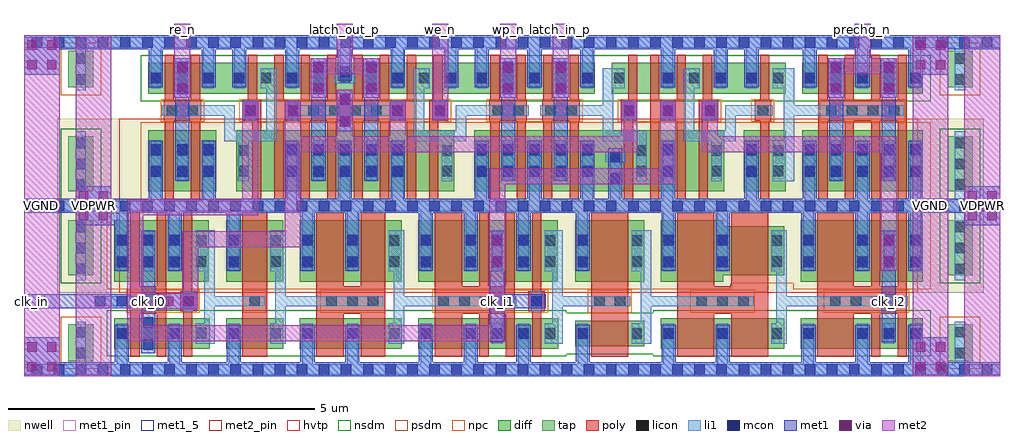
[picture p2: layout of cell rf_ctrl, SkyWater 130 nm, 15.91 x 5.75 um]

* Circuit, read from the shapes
.subckt rf_ctrl VDPWR VGND clk_i0 clk_i1 clk_i2 clk_in latch_in_p latch_out_p prechg_n re_n we_n wp_n
XM1 clk_i0 clk_in VGND VGND sky130_fd_pr__nfet_01v8 w=0.5 l=0.15 m=2
XM2 re_n n1 VGND VGND sky130_fd_pr__nfet_01v8 w=0.5 l=0.15 m=2
XM3 n2 clk_i0 VGND VGND sky130_fd_pr__nfet_01v8 w=0.5 l=0.15
XM4 n3 n2 VGND VGND sky130_fd_pr__nfet_01v8 w=0.5 l=0.4
XM5 n1 clk_i1 VGND VGND sky130_fd_pr__nfet_01v8 w=0.5 l=0.15
XM6 VGND clk_i0 n1 VGND sky130_fd_pr__nfet_01v8 w=0.5 l=0.15
XM7 latch_out_p clk_i0 VGND VGND sky130_fd_pr__nfet_01v8 w=0.5 l=0.15 m=4
XM8 VGND n3 VGND VGND sky130_fd_pr__nfet_01v8 w=0.5 l=0.45
XM9 n4 n3 VGND VGND sky130_fd_pr__nfet_01v8 w=0.5 l=0.4
XM10 n5 clk_i0 VGND VGND sky130_fd_pr__nfet_01v8 w=0.5 l=0.15
XM11 VGND we_n n5 VGND sky130_fd_pr__nfet_01v8 w=0.5 l=0.15
XM12 VGND n4 VGND VGND sky130_fd_pr__nfet_01v8 w=0.5 l=0.45
XM13 clk_i1 n4 VGND VGND sky130_fd_pr__nfet_01v8 w=0.5 l=0.15 m=2
XM14 wp_n n5 VGND VGND sky130_fd_pr__nfet_01v8 w=0.5 l=0.15 m=2
XM15 n6 clk_i1 VGND VGND sky130_fd_pr__nfet_01v8 w=0.5 l=0.15
XM16 latch_in_p n7 VGND VGND sky130_fd_pr__nfet_01v8 w=0.5 l=0.15 m=2
XM17 n8 n6 VGND VGND sky130_fd_pr__nfet_01v8 w=0.42 l=0.6
XM18 n9 clk_i0 n7 VGND sky130_fd_pr__nfet_01v8 w=0.5 l=0.15
XM19 VGND clk_i1 n9 VGND sky130_fd_pr__nfet_01v8 w=0.5 l=0.15
XM20 n10 clk_i1 VGND VGND sky130_fd_pr__nfet_01v8 w=0.5 l=0.15
XM21 VGND n8 VGND VGND sky130_fd_pr__nfet_01v8 w=0.5 l=0.6
XM22 VGND clk_i2 n10 VGND sky130_fd_pr__nfet_01v8 w=0.5 l=0.15
XM23 n11 n8 VGND VGND sky130_fd_pr__nfet_01v8 w=0.5 l=0.6
XM24 n12 n10 VGND VGND sky130_fd_pr__nfet_01v8 w=0.5 l=0.15
XM25 VGND n11 VGND VGND sky130_fd_pr__nfet_01v8 w=0.5 l=0.6
XM26 prechg_n n12 VGND VGND sky130_fd_pr__nfet_01v8 w=0.5 l=0.15 m=4
XM27 clk_i2 n11 VGND VGND sky130_fd_pr__nfet_01v8 w=0.5 l=0.15 m=2
XM28 clk_i0 clk_in VDPWR VDPWR sky130_fd_pr__pfet_01v8_hvt w=1 l=0.15 m=2
XM29 re_n n1 VDPWR VDPWR sky130_fd_pr__pfet_01v8_hvt w=1 l=0.15 m=2
XM30 n2 clk_i0 VDPWR VDPWR sky130_fd_pr__pfet_01v8_hvt w=1 l=0.15
XM31 n3 n2 VDPWR VDPWR sky130_fd_pr__pfet_01v8_hvt w=1 l=0.4
XM32 n13 clk_i1 n1 VDPWR sky130_fd_pr__pfet_01v8_hvt w=1 l=0.15
XM33 VDPWR clk_i0 n13 VDPWR sky130_fd_pr__pfet_01v8_hvt w=1 l=0.15
XM34 latch_out_p clk_i0 VDPWR VDPWR sky130_fd_pr__pfet_01v8_hvt w=1 l=0.15 m=4
XM35 VDPWR n3 VDPWR VDPWR sky130_fd_pr__pfet_01v8_hvt w=1 l=0.45
XM36 n4 n3 VDPWR VDPWR sky130_fd_pr__pfet_01v8_hvt w=1 l=0.4
XM37 n14 clk_i0 VDPWR VDPWR sky130_fd_pr__pfet_01v8_hvt w=1 l=0.15
XM38 n5 we_n n14 VDPWR sky130_fd_pr__pfet_01v8_hvt w=1 l=0.15
XM39 VDPWR n4 VDPWR VDPWR sky130_fd_pr__pfet_01v8_hvt w=1 l=0.45
XM40 clk_i1 n4 VDPWR VDPWR sky130_fd_pr__pfet_01v8_hvt w=1 l=0.15 m=2
XM41 wp_n n5 VDPWR VDPWR sky130_fd_pr__pfet_01v8_hvt w=1 l=0.15 m=2
XM42 n6 clk_i1 VDPWR VDPWR sky130_fd_pr__pfet_01v8_hvt w=1 l=0.15
XM43 latch_in_p n7 VDPWR VDPWR sky130_fd_pr__pfet_01v8_hvt w=1 l=0.15 m=2
XM44 n8 n6 VDPWR VDPWR sky130_fd_pr__pfet_01v8_hvt w=1 l=0.6
XM45 n7 clk_i0 VDPWR VDPWR sky130_fd_pr__pfet_01v8_hvt w=1 l=0.15
XM46 VDPWR clk_i1 n7 VDPWR sky130_fd_pr__pfet_01v8_hvt w=1 l=0.15
XM47 n15 clk_i1 VDPWR VDPWR sky130_fd_pr__pfet_01v8_hvt w=1 l=0.15
XM48 VDPWR n8 VDPWR VDPWR sky130_fd_pr__pfet_01v8_hvt w=1 l=0.6
XM49 n10 clk_i2 n15 VDPWR sky130_fd_pr__pfet_01v8_hvt w=1 l=0.15
XM50 n11 n8 VDPWR VDPWR sky130_fd_pr__pfet_01v8_hvt w=0.8 l=0.6
XM51 n12 n10 VDPWR VDPWR sky130_fd_pr__pfet_01v8_hvt w=1 l=0.15
XM52 VDPWR n11 VDPWR VDPWR sky130_fd_pr__pfet_01v8_hvt w=1 l=0.6
XM53 prechg_n n12 VDPWR VDPWR sky130_fd_pr__pfet_01v8_hvt w=1 l=0.15 m=4
XM54 clk_i2 n11 VDPWR VDPWR sky130_fd_pr__pfet_01v8_hvt w=1 l=0.15 m=2
.ends

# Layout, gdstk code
import gdstk
lib = gdstk.Library(unit=1e-6, precision=1e-09)
def R(c, l, rs):  # rectangles x0, y0, x1, y1
    for r in rs: c.add(gdstk.rectangle(r[:2], r[2:], *l))
def A(c, l, x, y, w, h, nx, ny, dx, dy):  # array of equal rectangles
    R(c, l, [(x+i*dx, y+j*dy, x+i*dx+w, y+j*dy+h) for i in range(nx) for j in range(ny)])
nwell = (64, 20)
diff = (65, 20)
tap = (65, 44)
poly = (66, 20)
licon = (66, 44)
li1 = (67, 20)
mcon = (67, 44)
met1_5 = (68, 5)
met1_pin = (68, 16)
met1 = (68, 20)
via = (68, 44)
met2_pin = (69, 16)
met2 = (69, 20)
hvtp = (78, 44)
nsdm = (93, 44)
psdm = (94, 20)
npc = (95, 20)

rf_ctrl = lib.new_cell('rf_ctrl')
R(rf_ctrl, nwell, [(0.54,-1.415,15.64,1.415)])
R(rf_ctrl, diff, [(1.47,-2.33,3.025,-1.83), (3.295,-2.33,4.225,-1.83), (4.495,-2.33,6.155,-1.83), (6.425,-2.33,8.71,-1.83), (10.38,-2.33,12.39,-1.83), (12.66,-2.33,14.65,-1.83), (8.98,-2.29,10.11,-1.87), (1.47,-1.235,3.01,-0.235), (3.295,-1.235,4.225,-0.235), (4.495,-1.235,6.155,-0.235), (6.425,-1.235,8.695,-0.235), (8.98,-1.235,10.11,-0.235), (10.38,-1.235,11.395,-1.135), (12.66,-1.235,14.65,-0.235), (10.38,-1.135,12.39,-0.335), (10.38,-0.335,11.395,-0.235), (2.025,0.235,3.135,1.235), (3.455,0.235,7.015,1.235), (7.335,0.235,11.41,1.235), (11.73,0.235,12.41,1.235), (12.68,0.235,14.65,1.235), (2.025,1.83,9.305,2.33), (9.58,1.83,12.41,2.33), (12.68,1.83,14.65,2.33)])
R(rf_ctrl, tap, [(0.72,-2.53,1.13,-1.93), (15.05,-2.53,15.46,-1.93), (0.72,-1.135,1.13,-0.235), (15.05,-1.135,15.46,-0.235), (0.72,0.235,1.13,1.135), (15.05,0.235,15.46,1.135), (0.72,1.93,1.13,2.53), (15.05,1.93,15.46,2.53)])
A(rf_ctrl, poly, 4.08, 0.105, 0.15, 1.285, 5, 1, 0.43, 0)
A(rf_ctrl, poly, 7.6, 0.105, 0.15, 1.28, 4, 1, 0.43, 0)
A(rf_ctrl, poly, 9.775, 0.105, 0.15, 1.285, 3, 1, 0.43, 0)
A(rf_ctrl, poly, 12.945, 0.105, 0.15, 1.28, 4, 1, 0.43, 0)
A(rf_ctrl, poly, 3.65, 1.72, 0.15, 0.74, 6, 1, 0.43, 0)
A(rf_ctrl, poly, 7.6, 1.72, 0.15, 0.74, 4, 1, 0.43, 0)
A(rf_ctrl, poly, 10.205, 1.72, 0.15, 0.74, 3, 1, 0.43, 0)
A(rf_ctrl, poly, 12.945, 1.72, 0.15, 0.74, 4, 1, 0.43, 0)
R(rf_ctrl, poly, [(1.735,-2.46,1.885,-1.755), (2.165,-2.46,2.315,-1.755), (2.595,-2.46,2.745,-1.72), (3.56,-2.46,3.96,-0.105), (4.76,-2.46,5.21,-1.755), (5.49,-2.46,5.89,-1.755), (6.69,-2.46,7.14,-1.755), (7.42,-2.46,7.57,-1.755), (7.85,-2.46,8,-1.755), (8.28,-2.46,8.43,-1.72), (9.245,-2.46,9.845,-1.72), (10.645,-2.46,11.245,-1.755), (11.525,-2.46,12.125,-1.755), (12.925,-2.46,13.525,-1.755), (13.805,-2.46,13.955,-1.755), (14.235,-2.46,14.385,-1.755), (1.735,-1.755,2.315,-1.72), (4.76,-1.755,5.89,-1.31), (6.69,-1.755,8,-1.31), (10.645,-1.755,12.125,-1.31), (12.925,-1.755,14.385,-1.31), (1.72,-1.72,2.33,-1.39), (2.545,-1.72,2.815,-1.39), (8.22,-1.72,8.49,-1.39), (9.24,-1.72,9.85,-1.39), (1.735,-1.39,2.315,-1.31), (2.595,-1.39,2.745,-0.105), (8.28,-1.39,8.43,-0.105), (9.245,-1.39,9.845,-0.105), (1.735,-1.31,1.885,-0.105), (2.165,-1.31,2.315,-0.105), (4.76,-1.31,5.21,-0.105), (5.49,-1.31,5.89,-0.105), (6.69,-1.31,7.14,-0.105), (7.42,-1.31,7.57,-0.105), (7.85,-1.31,8,-0.105), (10.645,-1.31,11.245,-0.105), (11.525,-1.31,12.125,-0.105), (12.925,-1.31,13.525,-0.105), (13.805,-1.31,13.955,-0.105), (14.235,-1.31,14.385,-0.105), (2.29,0.105,2.44,1.385), (2.72,0.105,2.87,1.385), (3.72,0.105,3.87,1.39), (6.24,0.105,6.39,1.39), (6.6,0.105,6.75,1.39), (10.995,0.105,11.145,1.39), (11.995,0.105,12.145,1.39), (2.29,1.385,2.87,1.39), (7.6,1.385,8.18,1.39), (8.46,1.385,9.04,1.39), (12.945,1.385,14.385,1.72), (2.275,1.39,2.885,1.72), (3.555,1.39,3.87,1.72), (4.08,1.39,6.39,1.72), (6.6,1.39,6.915,1.72), (7.585,1.39,8.195,1.72), (8.445,1.39,9.055,1.72), (9.725,1.39,9.995,1.72), (10.205,1.39,10.785,1.72), (10.995,1.39,11.31,1.72), (11.905,1.39,12.175,1.72), (2.29,1.72,2.44,2.46), (2.72,1.72,2.87,2.46), (6.24,1.72,6.39,2.46), (6.67,1.72,6.82,2.46), (9.845,1.72,9.995,2.46), (11.995,1.72,12.145,2.46)])
A(rf_ctrl, licon, 1.51, -2.165, 0.17, 0.17, 3, 1, 0.43, 0)
A(rf_ctrl, licon, 7.195, -2.165, 0.17, 0.17, 4, 2, 0.43, 1.175)
A(rf_ctrl, licon, 10.42, -2.165, 0.17, 0.17, 3, 2, 0.88, 1.175)
A(rf_ctrl, licon, 13.58, -2.165, 0.17, 0.17, 3, 2, 0.43, 1.175)
A(rf_ctrl, licon, 4.925, -1.64, 0.17, 0.17, 3, 1, 0.34, 0)
A(rf_ctrl, licon, 6.75, -1.64, 0.17, 0.17, 4, 1, 0.34, 0)
A(rf_ctrl, licon, 10.96, -1.64, 0.17, 0.17, 3, 1, 0.34, 0)
A(rf_ctrl, licon, 13.135, -1.64, 0.17, 0.17, 4, 1, 0.34, 0)
A(rf_ctrl, licon, 0.84, -1.11, 0.17, 0.17, 1, 3, 0, 0.34)
A(rf_ctrl, licon, 15.17, -1.11, 0.17, 0.17, 1, 3, 0, 0.34)
A(rf_ctrl, licon, 1.51, -0.99, 0.17, 0.17, 4, 2, 0.43, 0.34)
A(rf_ctrl, licon, 7.195, -0.65, 0.17, 0.17, 4, 1, 0.43, 0)
A(rf_ctrl, licon, 10.42, -0.65, 0.17, 0.17, 3, 1, 0.88, 0)
A(rf_ctrl, licon, 13.58, -0.65, 0.17, 0.17, 3, 1, 0.43, 0)
A(rf_ctrl, licon, 0.84, 0.26, 0.17, 0.17, 1, 3, 0, 0.34)
A(rf_ctrl, licon, 15.17, 0.26, 0.17, 0.17, 1, 3, 0, 0.34)
A(rf_ctrl, licon, 2.065, 0.48, 0.17, 0.17, 3, 2, 0.43, 0.34)
A(rf_ctrl, licon, 4.285, 0.48, 0.17, 0.17, 4, 2, 0.43, 0.34)
A(rf_ctrl, licon, 7.375, 0.48, 0.17, 0.17, 5, 2, 0.43, 0.34)
A(rf_ctrl, licon, 12.72, 0.48, 0.17, 0.17, 5, 2, 0.43, 0.34)
A(rf_ctrl, licon, 4.295, 1.47, 0.17, 0.17, 5, 1, 0.34, 0)
A(rf_ctrl, licon, 13.07, 1.47, 0.17, 0.17, 4, 1, 0.34, 0)
A(rf_ctrl, licon, 2.065, 1.995, 0.17, 0.17, 3, 1, 0.43, 0)
A(rf_ctrl, licon, 3.425, 1.995, 0.17, 0.17, 6, 1, 0.43, 0)
A(rf_ctrl, licon, 7.375, 1.995, 0.17, 0.17, 5, 1, 0.43, 0)
A(rf_ctrl, licon, 10.41, 1.995, 0.17, 0.17, 3, 1, 0.43, 0)
A(rf_ctrl, licon, 12.72, 1.995, 0.17, 0.17, 5, 1, 0.43, 0)
R(rf_ctrl, licon, [(0.84,-2.485,1.01,-2.315), (15.17,-2.485,15.34,-2.315), (3.335,-2.165,3.505,-1.995), (4.015,-2.165,4.185,-1.995), (4.535,-2.165,4.705,-1.995), (5.265,-2.165,5.435,-1.995), (5.945,-2.165,6.115,-1.995), (6.465,-2.165,6.635,-1.995), (9.02,-2.165,9.19,-1.995), (9.9,-2.165,10.07,-1.995), (12.7,-2.165,12.87,-1.995), (2.8,-2.16,2.97,-1.99), (0.84,-2.145,1.01,-1.975), (15.17,-2.145,15.34,-1.975), (1.77,-1.64,1.94,-1.47), (2.11,-1.64,2.28,-1.47), (2.595,-1.64,2.765,-1.47), (3.675,-1.64,3.845,-1.47), (8.27,-1.64,8.44,-1.47), (9.29,-1.64,9.46,-1.47), (9.63,-1.64,9.8,-1.47), (3.335,-0.99,3.505,-0.82), (4.015,-0.99,4.185,-0.82), (4.535,-0.99,4.705,-0.82), (5.265,-0.99,5.435,-0.82), (5.945,-0.99,6.115,-0.82), (6.465,-0.99,6.635,-0.82), (9.02,-0.99,9.19,-0.82), (9.9,-0.99,10.07,-0.82), (12.7,-0.99,12.87,-0.82), (3.335,-0.65,3.505,-0.48), (4.015,-0.65,4.185,-0.48), (4.535,-0.65,4.705,-0.48), (5.265,-0.65,5.435,-0.48), (5.945,-0.65,6.115,-0.48), (6.465,-0.65,6.635,-0.48), (9.02,-0.65,9.19,-0.48), (9.9,-0.65,10.07,-0.48), (12.7,-0.65,12.87,-0.48), (9.55,0.37,9.72,0.54), (3.495,0.48,3.665,0.65), (6.01,0.48,6.18,0.65), (6.805,0.48,6.975,0.65), (9.98,0.48,10.15,0.65), (10.41,0.48,10.58,0.65), (11.2,0.48,11.37,0.65), (11.77,0.48,11.94,0.65), (12.2,0.48,12.37,0.65), (9.55,0.71,9.72,0.88), (3.495,0.82,3.665,0.99), (6.01,0.82,6.18,0.99), (6.805,0.82,6.975,0.99), (9.98,0.82,10.15,0.99), (10.41,0.82,10.58,0.99), (11.2,0.82,11.37,0.99), (11.77,0.82,11.94,0.99), (12.2,0.82,12.37,0.99), (2.325,1.47,2.495,1.64), (2.665,1.47,2.835,1.64), (3.605,1.47,3.775,1.64), (6.005,1.47,6.175,1.64), (6.695,1.47,6.865,1.64), (7.635,1.47,7.805,1.64), (7.975,1.47,8.145,1.64), (8.495,1.47,8.665,1.64), (8.835,1.47,9.005,1.64), (9.775,1.47,9.945,1.64), (10.41,1.47,10.58,1.64), (11.09,1.47,11.26,1.64), (11.955,1.47,12.125,1.64), (0.84,1.975,1.01,2.145), (15.17,1.975,15.34,2.145), (6.01,1.995,6.18,2.165), (6.445,1.995,6.615,2.165), (6.875,1.995,7.045,2.165), (9.62,1.995,9.79,2.165), (11.77,1.995,11.94,2.165), (12.2,1.995,12.37,2.165), (0.84,2.315,1.01,2.485), (15.17,2.315,15.34,2.485)])
A(rf_ctrl, li1, 0, -2.75, 15.905, 0.17, 1, 3, 0, 2.665)
A(rf_ctrl, li1, 7.375, 0.085, 0.17, 0.985, 3, 1, 0.86, 0)
A(rf_ctrl, li1, 12.72, 0.085, 0.17, 0.985, 3, 1, 0.86, 0)
A(rf_ctrl, li1, 7.375, 1.915, 0.17, 0.665, 3, 1, 0.86, 0)
A(rf_ctrl, li1, 12.72, 1.915, 0.17, 0.665, 3, 1, 0.86, 0)
R(rf_ctrl, li1, [(0.84,-2.58,1.01,-1.89), (1.51,-2.58,1.68,-1.915), (2.37,-2.58,2.54,-1.915), (3.335,-2.58,3.505,-1.915), (4.535,-2.58,4.705,-1.915), (5.265,-2.58,5.435,-1.915), (6.465,-2.58,6.635,-1.915), (7.195,-2.58,7.365,-1.915), (8.055,-2.58,8.225,-1.915), (9.02,-2.58,9.19,-1.915), (10.42,-2.58,10.59,-1.915), (11.3,-2.58,11.47,-1.915), (12.7,-2.58,12.87,-1.915), (13.58,-2.58,13.75,-1.915), (14.44,-2.58,14.61,-1.915), (15.17,-2.58,15.34,-1.89), (1.94,-2.345,2.11,-1.815), (8.485,-2.25,8.78,-1.915), (2.8,-2.245,3.105,-1.91), (4.015,-2.245,4.265,-1.915), (5.945,-2.245,6.195,-1.915), (7.625,-2.245,7.795,-1.915), (9.9,-2.245,10.22,-1.915), (12.18,-2.245,12.43,-1.915), (14.01,-2.245,14.18,-1.915), (4.095,-1.915,4.265,-1.64), (6.025,-1.915,6.195,-1.64), (8.61,-1.915,8.78,-1.64), (10.05,-1.915,10.22,-1.64), (12.26,-1.915,12.43,-1.64), (2.935,-1.91,3.105,-1.64), (2.595,-1.72,2.765,-1.39), (8.27,-1.72,8.44,-1.39), (1.15,-1.64,2.36,-1.47), (2.935,-1.64,3.925,-1.47), (4.095,-1.64,5.855,-1.47), (6.025,-1.64,8.02,-1.47), (8.61,-1.64,9.88,-1.47), (10.05,-1.64,11.89,-1.47), (12.26,-1.64,14.405,-1.47), (2.935,-1.47,3.105,-1.07), (4.095,-1.47,4.265,-1.07), (6.025,-1.47,6.195,-1.07), (8.61,-1.47,8.78,-1.07), (10.05,-1.47,10.22,-1.07), (12.26,-1.47,12.43,-1.07), (0.84,-1.215,1.01,-0.085), (15.17,-1.215,15.34,-0.085), (1.51,-1.07,1.68,-0.085), (1.94,-1.07,2.11,-0.4), (2.37,-1.07,2.54,-0.085), (2.8,-1.07,3.105,-0.4), (3.335,-1.07,3.505,-0.085), (4.015,-1.07,4.265,-0.4), (4.535,-1.07,4.705,-0.085), (5.265,-1.07,5.435,-0.085), (5.945,-1.07,6.195,-0.4), (6.465,-1.07,6.635,-0.085), (7.195,-1.07,7.365,-0.085), (7.625,-1.07,7.795,-0.4), (8.055,-1.07,8.225,-0.085), (8.485,-1.07,8.78,-0.4), (9.02,-1.07,9.19,-0.085), (9.9,-1.07,10.22,-0.4), (10.42,-1.07,10.59,-0.085), (11.3,-1.07,11.47,-0.085), (12.18,-1.07,12.43,-0.4), (12.7,-1.07,12.87,-0.085), (13.58,-1.07,13.75,-0.085), (14.01,-1.07,14.18,-0.4), (14.44,-1.07,14.61,-0.085), (0.84,0.085,1.01,1.215), (2.065,0.085,2.235,1.07), (2.925,0.085,3.095,1.07), (4.285,0.085,4.455,1.07), (5.145,0.085,5.315,1.07), (6.005,0.085,6.185,1.07), (9.55,0.085,9.72,0.71), (10.41,0.085,10.58,1.07), (11.77,0.085,11.94,1.07), (15.17,0.085,15.34,1.215), (2.495,0.4,2.665,1.07), (3.495,0.4,3.665,1.05), (4.715,0.4,4.885,1.07), (5.575,0.4,5.745,1.07), (6.805,0.4,6.975,1.05), (7.805,0.4,7.975,1.07), (8.665,0.4,8.835,1.07), (9.98,0.4,10.15,1.05), (11.2,0.4,11.37,1.05), (12.2,0.4,12.55,1.07), (13.15,0.4,13.32,1.07), (14.01,0.4,14.18,1.07), (9.47,0.71,9.8,0.88), (3.265,1.05,4.115,1.22), (6.355,1.05,7.205,1.22), (9.435,1.05,10.15,1.22), (10.75,1.05,11.6,1.22), (12.38,1.07,12.55,1.47), (3.265,1.22,3.435,1.47), (3.945,1.22,4.115,1.915), (6.355,1.22,6.525,1.915), (7.035,1.22,7.205,1.47), (9.435,1.22,9.605,1.47), (10.75,1.22,10.92,1.915), (11.43,1.22,11.6,1.47), (5.145,1.29,5.315,1.47), (3.605,1.39,3.775,1.72), (4.295,1.39,4.465,1.47), (6.005,1.39,6.175,1.47), (6.695,1.39,6.865,1.72), (9.775,1.39,9.945,1.72), (10.41,1.39,10.58,1.72), (11.09,1.39,11.26,1.72), (2.245,1.47,3.435,1.64), (4.295,1.47,6.175,1.64), (7.035,1.47,8.225,1.64), (8.415,1.47,9.605,1.64), (11.43,1.47,12.205,1.64), (12.38,1.47,14.34,1.64), (4.295,1.64,4.465,1.72), (5.145,1.64,5.315,1.82), (6.005,1.64,6.175,1.72), (9.435,1.64,9.605,1.915), (12.38,1.64,12.55,1.915), (2.495,1.815,2.665,2.345), (4.715,1.815,4.885,2.345), (5.575,1.815,5.745,2.345), (7.805,1.815,7.975,2.345), (8.665,1.815,8.835,2.345), (13.15,1.815,13.32,2.345), (14.01,1.815,14.18,2.345), (0.84,1.885,1.01,2.58), (15.17,1.885,15.34,2.58), (2.065,1.915,2.235,2.58), (2.925,1.915,3.095,2.58), (3.425,1.915,3.595,1.995), (3.855,1.915,4.115,2.245), (4.285,1.915,4.455,2.58), (6.005,1.915,6.185,2.58), (6.355,1.915,6.615,2.245), (6.875,1.915,7.045,2.58), (9.435,1.915,9.79,2.245), (10.41,1.915,10.58,2.58), (10.75,1.915,11.01,2.245), (11.27,1.915,11.44,2.58), (11.77,1.915,11.94,2.58), (12.2,1.915,12.55,2.245), (3.42,1.995,3.595,2.165), (5.065,1.995,5.395,2.165), (3.425,2.165,3.595,2.58), (5.145,2.165,5.315,2.58)])
A(rf_ctrl, mcon, 0.125, -2.75, 0.17, 0.17, 44, 3, 0.36, 2.665)
A(rf_ctrl, mcon, 7.195, -2.165, 0.17, 0.17, 3, 2, 0.43, 1.165)
A(rf_ctrl, mcon, 13.58, -2.165, 0.17, 0.17, 3, 2, 0.43, 1.165)
A(rf_ctrl, mcon, 1.51, -1, 0.17, 0.17, 3, 2, 0.43, 0.36)
A(rf_ctrl, mcon, 7.195, -0.64, 0.17, 0.17, 3, 1, 0.43, 0)
A(rf_ctrl, mcon, 13.58, -0.64, 0.17, 0.17, 3, 1, 0.43, 0)
A(rf_ctrl, mcon, 2.065, 0.47, 0.17, 0.17, 3, 2, 0.43, 0.36)
A(rf_ctrl, mcon, 4.285, 0.47, 0.17, 0.17, 5, 2, 0.43, 0.36)
A(rf_ctrl, mcon, 7.375, 0.47, 0.17, 0.17, 5, 2, 0.43, 0.36)
A(rf_ctrl, mcon, 12.72, 0.47, 0.17, 0.17, 5, 2, 0.43, 0.36)
A(rf_ctrl, mcon, 7.375, 1.995, 0.17, 0.17, 3, 1, 0.86, 0)
A(rf_ctrl, mcon, 12.72, 1.995, 0.17, 0.17, 3, 1, 0.86, 0)
R(rf_ctrl, mcon, [(1.94,-2.345,2.11,-2.175), (1.51,-2.165,1.68,-1.995), (2.37,-2.165,2.54,-1.995), (3.335,-2.165,3.505,-1.995), (4.535,-2.165,4.705,-1.995), (5.265,-2.165,5.435,-1.995), (6.465,-2.165,6.635,-1.995), (9.02,-2.165,9.19,-1.995), (10.42,-2.165,10.59,-1.995), (11.3,-2.165,11.47,-1.995), (12.7,-2.165,12.87,-1.995), (1.94,-1.985,2.11,-1.815), (1.15,-1.64,1.32,-1.47), (1.51,-1.64,1.68,-1.47), (2.595,-1.64,2.765,-1.47), (8.27,-1.64,8.44,-1.47), (3.335,-1,3.505,-0.83), (4.535,-1,4.705,-0.83), (5.265,-1,5.435,-0.83), (6.465,-1,6.635,-0.83), (9.02,-1,9.19,-0.83), (10.42,-1,10.59,-0.83), (11.3,-1,11.47,-0.83), (12.7,-1,12.87,-0.83), (3.335,-0.64,3.505,-0.47), (4.535,-0.64,4.705,-0.47), (5.265,-0.64,5.435,-0.47), (6.465,-0.64,6.635,-0.47), (9.02,-0.64,9.19,-0.47), (10.42,-0.64,10.59,-0.47), (11.3,-0.64,11.47,-0.47), (12.7,-0.64,12.87,-0.47), (9.55,0.35,9.72,0.52), (10.41,0.47,10.58,0.64), (11.77,0.47,11.94,0.64), (9.55,0.71,9.72,0.88), (10.41,0.83,10.58,1), (11.77,0.83,11.94,1), (5.145,1.29,5.315,1.46), (3.605,1.47,3.775,1.64), (4.295,1.47,4.465,1.64), (6.005,1.47,6.175,1.64), (6.695,1.47,6.865,1.64), (9.775,1.47,9.945,1.64), (10.41,1.47,10.58,1.64), (11.09,1.47,11.26,1.64), (5.145,1.65,5.315,1.82), (2.495,1.815,2.665,1.985), (4.715,1.815,4.885,1.985), (5.575,1.815,5.745,1.985), (7.805,1.815,7.975,1.985), (8.665,1.815,8.835,1.985), (13.15,1.815,13.32,1.985), (14.01,1.815,14.18,1.985), (2.065,1.995,2.235,2.165), (2.925,1.995,3.095,2.165), (3.42,1.995,3.59,2.165), (4.285,1.995,4.455,2.165), (6.005,1.995,6.175,2.165), (6.875,1.995,7.045,2.165), (10.41,1.995,10.58,2.165), (11.27,1.995,11.44,2.165), (11.77,1.995,11.94,2.165), (5.145,2.095,5.315,2.265), (2.495,2.175,2.665,2.345), (4.715,2.175,4.885,2.345), (5.575,2.175,5.745,2.345), (7.805,2.175,7.975,2.345), (8.665,2.175,8.835,2.345), (13.15,2.175,13.32,2.345), (14.01,2.175,14.18,2.345)])
R(rf_ctrl, met1_5, [(1.91,-1.67,2.14,-1.44), (7.595,-1.67,7.825,-1.44), (13.98,-1.67,14.21,-1.44)])
R(rf_ctrl, met1_pin, [(0,-1.67,0.23,-1.44)])
A(rf_ctrl, met1, 0, -2.78, 15.905, 0.23, 1, 3, 0, 2.665)
A(rf_ctrl, met1, 4.255, 0.115, 0.23, 0.945, 3, 1, 0.86, 0)
A(rf_ctrl, met1, 7.345, 0.115, 0.23, 0.945, 3, 1, 0.86, 0)
A(rf_ctrl, met1, 12.69, 0.115, 0.23, 0.945, 3, 1, 0.86, 0)
A(rf_ctrl, met1, 7.345, 1.935, 0.23, 0.615, 3, 1, 0.86, 0)
R(rf_ctrl, met1, [(0,-2.55,0.58,-2.14), (1.48,-2.55,1.71,-1.935), (2.34,-2.55,2.57,-1.935), (3.305,-2.55,3.535,-1.935), (4.505,-2.55,4.735,-1.935), (5.235,-2.55,5.465,-1.935), (6.435,-2.55,6.665,-1.935), (7.165,-2.55,7.395,-1.935), (8.025,-2.55,8.255,-1.935), (8.99,-2.55,9.22,-1.935), (10.39,-2.55,10.62,-1.935), (11.27,-2.55,11.5,-1.935), (12.67,-2.55,12.9,-1.935), (13.55,-2.55,13.78,-1.935), (14.41,-2.55,15.065,-2.14), (1.91,-2.405,2.14,-1.685), (7.595,-2.225,7.825,-1.67), (13.98,-2.225,14.21,-1.055), (14.41,-2.14,14.64,-1.935), (1.91,-1.685,2.84,-1.425), (0,-1.67,1.74,-1.44), (7.595,-1.67,8.5,-1.44), (7.595,-1.44,7.825,-1.055), (1.91,-1.425,2.14,-0.41), (1.48,-1.06,1.71,-0.32), (2.34,-1.06,2.57,-0.115), (3.305,-1.06,3.535,-0.115), (4.505,-1.06,4.735,-0.115), (5.235,-1.06,5.465,-0.115), (6.435,-1.06,6.665,-0.115), (7.165,-1.06,7.395,-0.115), (8.025,-1.06,8.255,-0.115), (8.99,-1.06,9.22,-0.115), (10.39,-1.06,10.62,-0.115), (11.27,-1.06,11.5,-0.115), (12.67,-1.06,12.9,-0.115), (13.55,-1.06,13.78,-0.115), (14.41,-1.06,14.64,-0.115), (7.58,-1.055,7.84,-0.415), (13.965,-1.055,14.225,-0.415), (7.595,-0.415,7.825,-0.41), (13.98,-0.415,14.21,-0.41), (0.84,-0.32,1.71,-0.115), (15.325,-0.32,15.905,-0.115), (0.84,0.115,1.42,0.32), (2.035,0.115,2.265,1.06), (2.895,0.115,3.125,1.06), (9.52,0.115,9.75,0.94), (10.38,0.115,10.61,1.06), (11.74,0.115,11.97,1.06), (15.325,0.115,15.905,0.32), (2.465,0.41,2.695,1.765), (4.685,0.41,4.915,1.765), (5.545,0.41,5.775,1.765), (7.775,0.41,8.005,1.765), (8.635,0.41,8.865,1.765), (13.12,0.41,13.35,1.765), (13.98,0.41,14.21,1.765), (5.1,1.215,5.36,1.895), (3.56,1.395,3.82,1.715), (4.25,1.395,4.51,1.715), (5.96,1.395,6.22,1.715), (6.65,1.395,6.91,1.715), (9.73,1.395,9.99,1.715), (10.365,1.395,10.625,1.715), (11.045,1.395,11.305,1.715), (2.45,1.765,2.71,2.405), (4.67,1.765,4.93,2.405), (5.53,1.765,5.79,2.405), (7.76,1.765,8.02,2.405), (8.62,1.765,8.88,2.405), (13.105,1.765,13.365,2.405), (13.965,1.765,14.225,2.405), (2.035,1.935,2.265,2.55), (2.895,1.935,3.125,2.55), (3.39,1.935,3.62,2.55), (4.255,1.935,4.485,2.55), (5.975,1.935,6.205,2.55), (6.845,1.935,7.075,2.55), (10.38,1.935,10.61,2.55), (11.24,1.935,11.47,2.55), (11.74,1.935,11.97,2.55), (12.69,1.935,12.92,2.55), (13.55,1.935,13.78,2.55), (14.41,1.935,14.64,2.14), (5.115,2.035,5.345,2.55), (0,2.14,0.58,2.55), (14.41,2.14,15.065,2.55)])
R(rf_ctrl, via, [(0.055,-2.695,0.205,-2.545), (0.375,-2.695,0.525,-2.545), (14.54,-2.695,14.69,-2.545), (14.86,-2.695,15.01,-2.545), (0.055,-2.375,0.205,-2.225), (0.375,-2.375,0.525,-2.225), (14.54,-2.375,14.69,-2.225), (14.86,-2.375,15.01,-2.225), (2.285,-1.63,2.435,-1.48), (2.605,-1.63,2.755,-1.48), (7.635,-0.97,7.785,-0.82), (14.02,-0.97,14.17,-0.82), (7.635,-0.65,7.785,-0.5), (14.02,-0.65,14.17,-0.5), (0.895,-0.235,1.045,-0.085), (1.215,-0.235,1.365,-0.085), (15.38,-0.235,15.53,-0.085), (15.7,-0.235,15.85,-0.085), (0.895,0.085,1.045,0.235), (1.215,0.085,1.365,0.235), (15.38,0.085,15.53,0.235), (15.7,0.085,15.85,0.235), (5.155,1.3,5.305,1.45), (3.615,1.48,3.765,1.63), (4.305,1.48,4.455,1.63), (6.015,1.48,6.165,1.63), (6.705,1.48,6.855,1.63), (9.785,1.48,9.935,1.63), (10.42,1.48,10.57,1.63), (11.1,1.48,11.25,1.63), (5.155,1.66,5.305,1.81), (2.505,1.85,2.655,2), (4.725,1.85,4.875,2), (5.585,1.85,5.735,2), (7.815,1.85,7.965,2), (8.675,1.85,8.825,2), (13.16,1.85,13.31,2), (14.02,1.85,14.17,2), (2.505,2.17,2.655,2.32), (4.725,2.17,4.875,2.32), (5.585,2.17,5.735,2.32), (7.815,2.17,7.965,2.32), (8.675,2.17,8.825,2.32), (13.16,2.17,13.31,2.32), (14.02,2.17,14.17,2.32), (0.055,2.225,0.205,2.375), (0.375,2.225,0.525,2.375), (14.54,2.225,14.69,2.375), (14.86,2.225,15.01,2.375), (0.055,2.545,0.205,2.695), (0.375,2.545,0.525,2.695), (14.54,2.545,14.69,2.695), (14.86,2.545,15.01,2.695)])
R(rf_ctrl, met2_pin, [(0,-2.78,0.58,2.78), (0.84,-2.78,1.42,2.78), (14.485,-2.78,15.065,2.78), (15.325,-2.78,15.905,2.78), (2.45,2.77,2.71,2.97), (5.1,2.77,5.36,2.97), (6.65,2.77,6.91,2.97), (7.76,2.77,8.02,2.97), (8.62,2.77,8.88,2.97), (13.535,2.77,13.795,2.97)])
R(rf_ctrl, met2, [(0,-2.78,0.58,2.78), (0.84,-2.78,1.42,2.78), (14.485,-2.78,15.065,2.78), (15.325,-2.78,15.905,2.78), (1.68,-2.205,7.84,-1.945), (1.68,-1.945,1.94,-0.155), (7.58,-1.945,7.84,0.355), (2.2,-1.685,2.84,-1.425), (2.58,-1.425,2.84,-0.675), (13.965,-1.055,14.225,0.875), (2.58,-0.675,4.51,-0.415), (4.25,-0.415,4.51,0.875), (1.68,-0.155,3.82,0.105), (3.56,0.105,3.82,1.715), (7.58,0.355,10.625,0.615), (10.365,0.615,10.625,1.715), (4.25,0.875,9.99,1.135), (11.045,0.875,14.225,1.135), (4.25,1.135,4.51,1.715), (5.1,1.135,5.36,1.895), (5.96,1.135,6.22,1.715), (9.73,1.135,9.99,1.715), (11.045,1.135,11.305,1.715), (6.65,1.395,6.91,2.97), (2.45,1.765,2.71,2.97), (4.67,1.765,4.93,2.145), (5.53,1.765,5.79,2.145), (7.76,1.765,8.02,2.97), (8.62,1.765,8.88,2.97), (13.105,1.765,13.365,2.145), (13.965,1.765,14.225,2.145), (4.67,2.145,5.79,2.405), (13.105,2.145,14.225,2.405), (5.1,2.405,5.36,2.97), (13.535,2.405,13.795,2.97)])
R(rf_ctrl, hvtp, [(1.555,-1.415,14.565,1.415)])
R(rf_ctrl, nsdm, [(1.345,-2.455,8.835,-2.415), (10.255,-2.455,14.775,-2.415), (1.345,-2.415,14.775,-1.745), (1.345,-1.745,8.835,-1.705), (10.255,-1.745,14.775,-1.705), (0.595,-1.26,1.255,1.26), (14.925,-1.26,15.585,1.26), (1.9,1.705,14.775,2.455)])
R(rf_ctrl, psdm, [(0.595,-2.655,1.255,-1.805), (14.925,-2.655,15.585,-1.805), (1.345,-1.36,11.52,-1.26), (12.535,-1.36,14.775,-1.26), (1.345,-1.26,14.775,-0.11), (1.9,-0.11,14.775,1.36), (0.595,1.805,1.255,2.655), (14.925,1.805,15.585,2.655)])
R(rf_ctrl, npc, [(1.67,-1.74,2.865,-1.37), (3.575,-1.74,3.945,-1.37), (4.825,-1.74,5.875,-1.37), (6.65,-1.74,8.54,-1.37), (9.19,-1.74,9.9,-1.37), (10.86,-1.74,11.91,-1.37), (13.035,-1.74,14.425,-1.37), (2.225,1.37,2.935,1.74), (3.505,1.37,6.965,1.74), (7.535,1.37,9.105,1.74), (9.675,1.37,11.36,1.74), (11.855,1.37,12.225,1.74), (12.97,1.37,14.36,1.74)])
rf_ctrl.add(gdstk.Label('clk_i1', (7.71,-1.555), layer=68, texttype=5))
rf_ctrl.add(gdstk.Label('clk_i0', (2.025,-1.555), layer=68, texttype=5))
rf_ctrl.add(gdstk.Label('clk_i2', (14.095,-1.555), layer=68, texttype=5))
rf_ctrl.add(gdstk.Label('VGND', (14.775,0), layer=69, texttype=5))
rf_ctrl.add(gdstk.Label('VGND', (0.29,0), layer=69, texttype=5))
rf_ctrl.add(gdstk.Label('VDPWR', (15.615,0), layer=69, texttype=5))
rf_ctrl.add(gdstk.Label('VDPWR', (1.13,0), layer=69, texttype=5))
rf_ctrl.add(gdstk.Label('clk_in', (0.115,-1.555), layer=68, texttype=5))
rf_ctrl.add(gdstk.Label('we_n', (6.78,2.87), layer=69, texttype=5))
rf_ctrl.add(gdstk.Label('re_n', (2.58,2.87), layer=69, texttype=5))
rf_ctrl.add(gdstk.Label('latch_out_p', (5.23,2.87), layer=69, texttype=5))
rf_ctrl.add(gdstk.Label('wp_n', (7.89,2.87), layer=69, texttype=5))
rf_ctrl.add(gdstk.Label('latch_in_p', (8.75,2.87), layer=69, texttype=5))
rf_ctrl.add(gdstk.Label('prechg_n', (13.665,2.87), layer=69, texttype=5))

lib.write_gds('rf_ctrl.gds')
